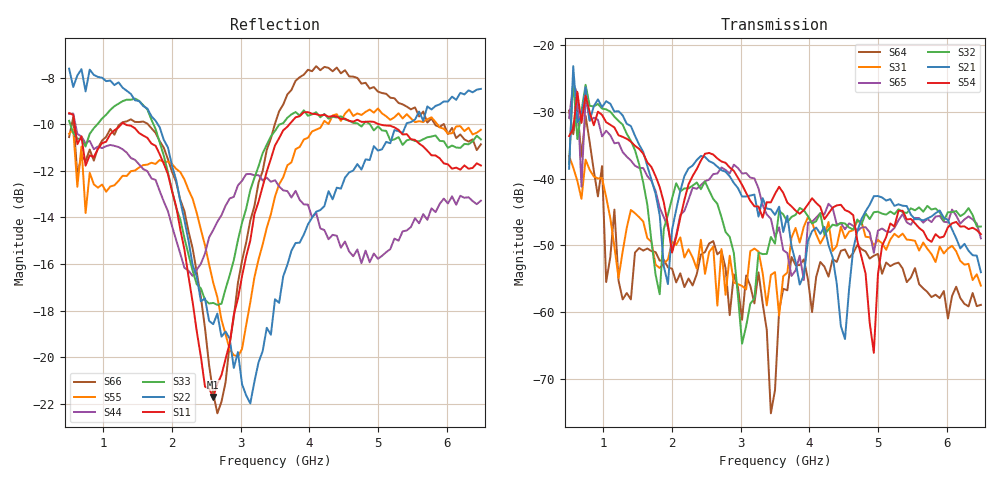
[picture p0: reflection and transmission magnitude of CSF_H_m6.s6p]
!Keysight Technologies,M9804A,MY58100912,A.14.10.03
!Date: Thursday, April 27, 2023 10:28:33
!Correction: S11(C  6-Port  )
!S12(C  6-Port  )
!S13(C  6-Port  )
!S14(C  6-Port  )
!S15(C  6-Port  )
!S16(C  6-Port  )
!S21(C  6-Port  )
!S22(C  6-Port  )
!S23(C  6-Port  )
!S24(C  6-Port  )
!S25(C  6-Port  )
!S26(C  6-Port  )
!S31(C  6-Port  )
!S32(C  6-Port  )
!S33(C  6-Port  )
!S34(C  6-Port  )
!S35(C  6-Port  )
!S36(C  6-Port  )
!S41(C  6-Port  )
!S42(C  6-Port  )
!S43(C  6-Port  )
!S44(C  6-Port  )
!S45(C  6-Port  )
!S46(C  6-Port  )
!S51(C  6-Port  )
!S52(C  6-Port  )
!S53(C  6-Port  )
!S54(C  6-Port  )
!S55(C  6-Port  )
!S56(C  6-Port  )
!S61(C  6-Port  )
!S62(C  6-Port  )
!S63(C  6-Port  )
!S64(C  6-Port  )
!S65(C  6-Port  )
!S66(C  6-Port  )
!S6P File: Measurement: :
# Hz S  RI  R 50
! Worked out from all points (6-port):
!   101 points, 500 MHz to 6.5 GHz, reference 50 ohm
!   strongest paths, dB at 500 MHz, 2 GHz, 3.5 GHz, 5 GHz, 6.5 GHz:
!     S54: -33.7, -51.1, -42.3, -54.3, -48.3
!     S21: -38.5, -47.7, -45.4, -42.6, -54.0
!     S32: -37.8, -43.0, -49.7, -45.0, -47.2
!     S65: -30.9, -50.7, -48.7, -47.8, -48.9
!     S31: -36.6, -49.5, -54.0, -49.2, -56.0
!     S64: -29.8, -53.5, -71.6, -51.3, -58.9
!   lowest |S11| = -21.7 dB at 2.6 GHz (marker M1), VSWR 1.18, Z = 42.7 + j1.99 ohm
!   |S11| at or under -10 dB: 578.9 MHz to 1.262 GHz (682.9 MHz wide, 74.2 % of centre); 1.315 GHz to 3.713 GHz (2.398 GHz wide, 95.4 % of centre); 5.013 GHz to end of sweep
